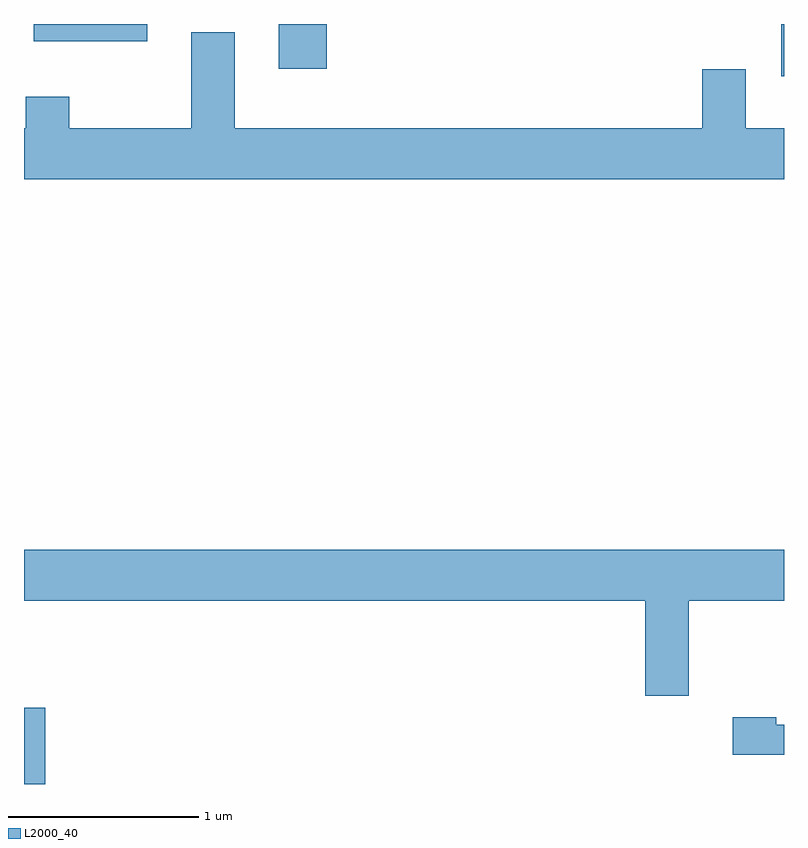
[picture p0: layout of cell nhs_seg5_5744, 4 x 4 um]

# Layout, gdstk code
import gdstk
lib = gdstk.Library(unit=1e-6, precision=1e-09)
def R(c, l, rs):  # rectangles x0, y0, x1, y1
    for r in rs: c.add(gdstk.rectangle(r[:2], r[2:], *l))
def P(c, l, *ps):  # polygons
    for p in ps: c.add(gdstk.Polygon(p, *l))
L2000_40 = (2000, 40)

nhs_seg5_5744 = lib.new_cell('nhs_seg5_5744')
R(nhs_seg5_5744, L2000_40, [(355.611,1438.072,355.724,1438.474), (359.596,1441.796,359.611,1442.072), (356.951,1441.836,357.204,1442.072), (355.661,1441.981,356.259,1442.072)])
P(nhs_seg5_5744, L2000_40, [(359.611,1441.524),(359.409,1441.524),(359.409,1441.834),(359.181,1441.834),(359.181,1441.524),(356.719,1441.524),(356.719,1442.029),(356.491,1442.029),(356.491,1441.524),(355.849,1441.524),(355.849,1441.689),(355.621,1441.689),(355.621,1441.524),(355.611,1441.524),(355.611,1441.256),(359.611,1441.256)],
  [(355.611,1439.036),(358.881,1439.036),(358.881,1438.536),(359.109,1438.536),(359.109,1439.036),(359.611,1439.036),(359.611,1439.304),(355.611,1439.304)],
  [(359.611,1438.384),(359.569,1438.384),(359.569,1438.424),(359.341,1438.424),(359.341,1438.226),(359.611,1438.226)])

lib.write_gds('nhs_seg5_5744.gds')
